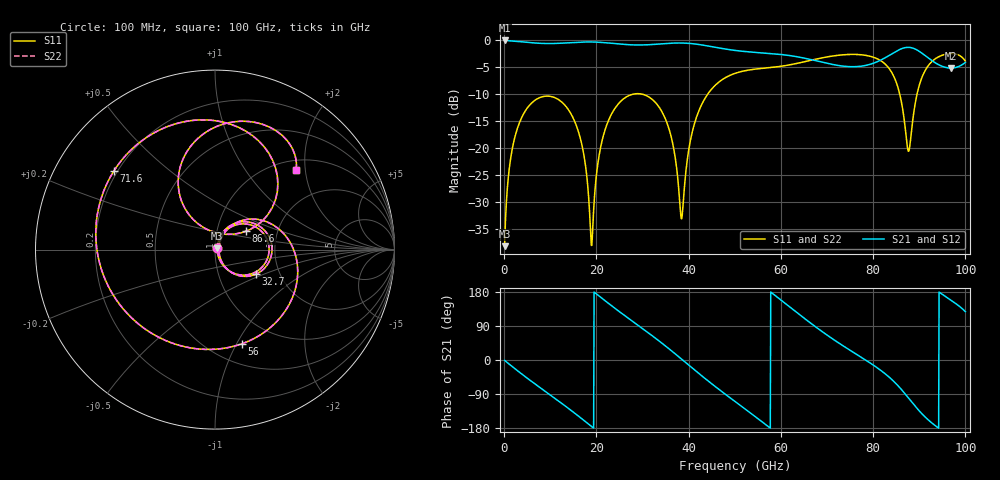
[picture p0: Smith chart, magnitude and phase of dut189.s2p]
! Touchstone file exported from HFSS 2026.1.0
!  File:  C:/ffzhzh/LocalFiles/Ansys_Project_Files/temp_train_TSV_RDL_189_1783654979_33328.aedt
!  Generated:  11:52:14 AM Jul 10, 2026
!  Design:  TSV_RDL
!  Project:  temp_train_TSV_RDL_189_1783654979_33328
! Variables:
!  h_bsmrdl = 4.98um
!  h_ox = 20um
!  h_rdl = 5um
!  h_sub = 96.41um
!  h_tmrdl = 3.62um
!  h_tsv = 96.41um
!  h_via = 3um
!  l_bsmrdl = 400.43um
!  l_sub = 2747.43um
!  l_tmrdl = 254.45um
!  m_sub = 200um
!  pitch = 41.45um
!  r_tsv = 12.98um
!  s_tmrdl = 10um
!  w_bsmrdl = 16.58um
!  w_sub = 500um
!  w_tmrdl = 26.2um
!  x_tsv_center1 = 267.55um
!  x_tsv_center2 = 684.56um
!  x_tsv_center3 = 965.21um
!  x_tsv_center4 = 1382.22um
!  x_tsv_center5 = 1662.87um
!  x_tsv_center6 = 2079.88um
# GHz S MA R 50.000000
! Terminal data exported
! Port[1] = TM_RDL1_1_T1
! Port[2] = TM_RDL5_1_T1
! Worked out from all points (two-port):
!   1000 points, 100 MHz to 100 GHz, reference 50 ohm
!   highest |S21| = -0.09 dB at 100 MHz (marker M1); lowest = -5.2 dB at 96.9 GHz (marker M2)
!   |S21| within 3 dB of the highest: start of sweep to 63.35 GHz; 83.03 GHz to 91.57 GHz (8.541 GHz wide, 9.78 % of centre)
!   lowest |S11| = -38.2 dB at 100 MHz (marker M3), VSWR 1.02, Z = 51.1 + j0.651 ohm
!   |S11| at or under -10 dB: start of sweep to 28.32 GHz; 29.57 GHz to 44.17 GHz (14.6 GHz wide, 39.6 % of centre); 85.75 GHz to 89.53 GHz (3.78 GHz wide, 4.31 % of centre)
!   |S22| runs from -38.2 to -2.5 dB; largest |S21 - S12| = 5.9e-13
!   S11 on the Smith chart (normalised r, x): 100 MHz: 1.02, +0.01; 32.7 GHz: 1.51, -0.44; 56 GHz: 0.70, -1.05; 71.6 GHz: 0.19, +0.33; 86.6 GHz: 1.38, +0.29; 100 GHz: 1.20, +1.79
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0.1  0.01223 31.4  0.9897 -1.0  0.9897 -1.0  0.01223 31.4
! Gamma 0 0 0 0
! Port Impedance 50 0 50 0
1.9  0.1047 62.7  0.9789 -18.7  0.9789 -18.7  0.1047 62.7
5.6  0.2508 31.9  0.9453 -53.4  0.9453 -53.4  0.2508 31.9
11.3  0.2875 -16.4  0.9292 -103.8  0.9292 -103.8  0.2876 -16.3
16.8  0.1091 -61.6  0.9566 -154.6  0.9566 -154.6  0.1092 -61.4
19  0.01244 13.6  0.9582 -175.9  0.9582 -175.9  0.01291 13.0
23.2  0.2023 48.9  0.9321 144.0  0.9321 144.0  0.2024 48.7
32.7  0.2659 -30.9  0.9112 58.5  0.9112 58.5  0.2659 -31.1
33.4  0.2447 -36.8  0.9158 52.0  0.9158 52.0  0.2448 -37.0
38.5  0.02198 6.6  0.9371 2.0  0.9371 2.0  0.0221 6.3
42.2  0.2192 47.6  0.908 -35.4  0.908 -35.4  0.2192 47.4
50.1  0.4907 -21.6  0.7996 -109.9  0.7996 -109.9  0.4908 -21.8
56  0.5458 -74.1  0.7588 -163.8  0.7588 -163.8  0.5459 -74.3
66.7  0.6508 -175.5  0.6552 95.0  0.6552 95.0  0.6508 -175.4
71.6  0.7138 142.0  0.5884 52.5  0.5884 52.5  0.7137 142.2
77.8  0.7259 95.1  0.5745 4.2  0.5745 4.2  0.7257 95.3
83.4  0.5482 51.1  0.7157 -44.4  0.7157 -44.4  0.548 51.3
86.6  0.2008 30.6  0.8424 -84.6  0.8424 -84.6  0.2009 30.9
87.8  0.09506 89.1  0.8536 -102.4  0.8536 -102.4  0.09547 89.2
90.7  0.4627 116.0  0.7476 -143.5  0.7476 -143.5  0.4627 116.0
96.9  0.7471 67.6  0.5487 157.6  0.5487 157.6  0.7469 67.7
100  0.6353 44.6  0.6189 127.6  0.6189 127.6  0.6351 44.6
